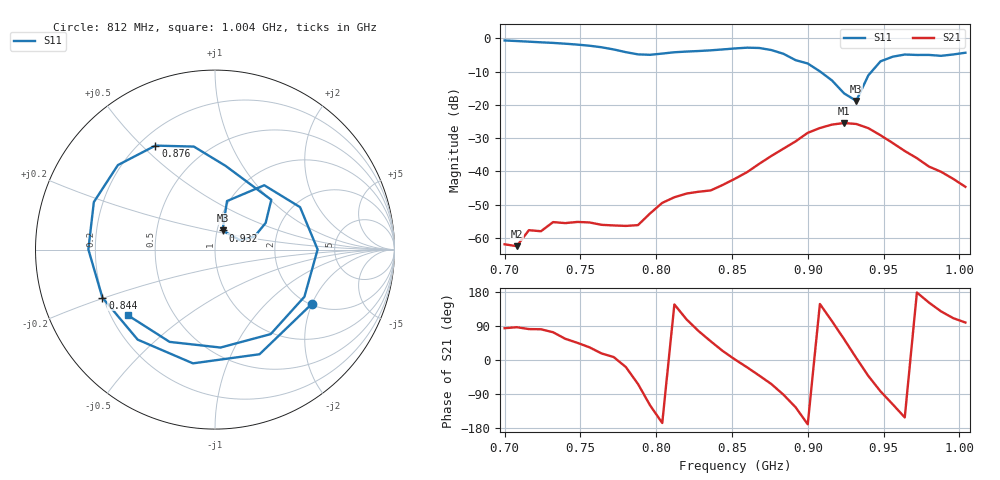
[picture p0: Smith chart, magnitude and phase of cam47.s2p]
# Hz S RI R 50
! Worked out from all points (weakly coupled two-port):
!   39 points, 700 MHz to 1.004 GHz, reference 50 ohm
!   highest |S21| = -25.48 dB at 924 MHz (marker M1); lowest = -62.5 dB at 708 MHz (marker M2)
!   lowest |S11| = -18.8 dB at 932 MHz (marker M3), VSWR 1.26, Z = 53.1 + j11.5 ohm
!   |S11| at or under -10 dB: 908.2 MHz to 942.1 MHz (33.87 MHz wide, 3.66 % of centre)
!   S12 and S22 are empty: the file has one direction only
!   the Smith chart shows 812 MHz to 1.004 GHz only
!   S11 on the Smith chart (normalised r, x): 812 MHz: 2.03, -1.99; 844 MHz: 0.20, -0.20; 876 MHz: 0.26, +0.55; 932 MHz: 1.06, +0.23; 1.004 GHz: 0.27, -0.31
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7e8  0.7621 0.5345  8.51e-05 0.000792  0 0  0 0
7.08e8  0.8662 0.2859  4.54e-05 0.000745  0 0  0 0
7.32e8  0.6854 -0.5112  0.000497 0.00165  0 0  0 0
7.56e8  -0.1971 -0.7501  0.00142 0.000936  0 0  0 0
7.72e8  -0.6562 -0.1842  0.00152 0.000205  0 0  0 0
7.8e8  -0.5756 0.2315  0.00143 -0.00048  0 0  0 0
7.88e8  -0.2225 0.5298  0.000695 -0.00138  0 0  0 0
7.96e8  0.2598 0.503  -0.00116 -0.00202  0 0  0 0
8.04e8  0.5725 0.1457  -0.00325 -0.000793  0 0  0 0
8.12e8  0.5389 -0.3031  -0.0034 0.00223  0 0  0 0
8.28e8  -0.1229 -0.6338  0.00117 0.00478  0 0  0 0
8.44e8  -0.6276 -0.2671  0.00572 0.00249  0 0  0 0
8.52e8  -0.7056 0.00122  0.00773 0.000178  0 0  0 0
8.76e8  -0.3321 0.5794  0.0076 -0.0152  0 0  0 0
9e8  0.3136 0.2775  -0.0373 -0.00678  0 0  0 0
9.08e8  0.2823 0.1488  -0.0379 0.0238  0 0  0 0
9.24e8  0.1389 0.0525  0.0307 0.0435  0 0  0 0
9.32e8  0.0421 0.1067  0.0513 0.00483  0 0  0 0
9.48e8  0.2745 0.3585  0.00439 -0.0346  0 0  0 0
9.56e8  0.4739 0.2365  -0.012 -0.0238  0 0  0 0
9.8e8  0.3102 -0.4709  -0.0103 0.00563  0 0  0 0
1.004e9  -0.4872 -0.3646  -0.000902 0.00576  0 0  0 0
